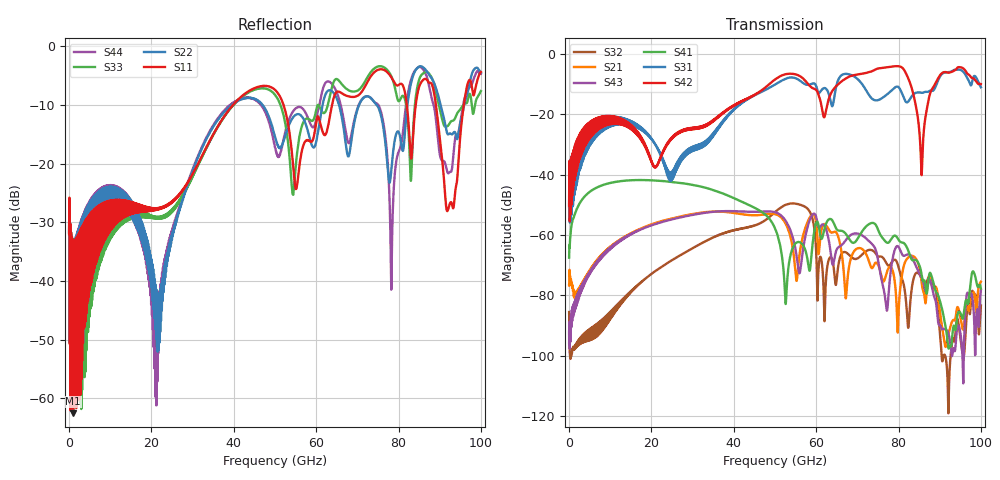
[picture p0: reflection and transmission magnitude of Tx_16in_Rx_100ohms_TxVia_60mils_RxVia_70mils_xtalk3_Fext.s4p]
! Info: Touchstone file created by Circ.  Input file=Tx_16in_Rx_100ohms_TxVia_60mils_RxVia_70mils.circ
# Hz S RI R 50
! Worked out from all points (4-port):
!   10000 points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, 10 MHz to 100 GHz, reference 50 ohm
!   strongest paths, dB at 10 MHz, 25.01 GHz, 50.01 GHz, 75.01 GHz, 100 GHz:
!     S42: -50.2, -27.7, -8.5, -4.9, -10.0
!     S31: -50.8, -41.5, -10.2, -15.4, -11.1
!     S41: -67.5, -42.5, -57.8, -58.2, -77.8
!     S43: -92.0, -54.8, -52.5, -68.2, -78.3
!     S21: -76.7, -54.5, -53.1, -69.8, -75.5
!     S32: -85.5, -68.4, -52.4, -67.1, -83.4
!   lowest |S11| = -62.5 dB at 980 MHz (marker M1), VSWR 1.00, Z = 49.9 + j0.0505 ohm
!   |S11| at or under -10 dB: start of sweep to 39.82 GHz; 52.05 GHz to 63.86 GHz (11.81 GHz wide, 20.4 % of centre); 89.08 GHz to 95.87 GHz (6.788 GHz wide, 7.34 % of centre)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
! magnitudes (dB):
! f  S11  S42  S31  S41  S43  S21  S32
! 10 MHz  -32.0  -50.2  -50.8  -67.5  -92.0  -76.7  -85.5
! 980 MHz  -62.5  -38.6  -39.2  -54.6  -86.3  -78.3  -97.1
! 54.27 GHz  -19.4  -6.7  -7.9  -64.4  -60.5  -64.0  -49.6
! 78.27 GHz  -5.3  -4.3  -12.2  -61.3  -70.4  -70.9  -69.2
! 85.59 GHz  -6.1  -40.1  -12.9  -73.1  -74.1  -75.6  -74.6
! 92 GHz  -27.9  -6.3  -6.1  -96.6  -92.0  -93.5  -112.4
! 100 GHz  -4.4  -10.0  -11.1  -77.8  -78.3  -75.5  -83.4
